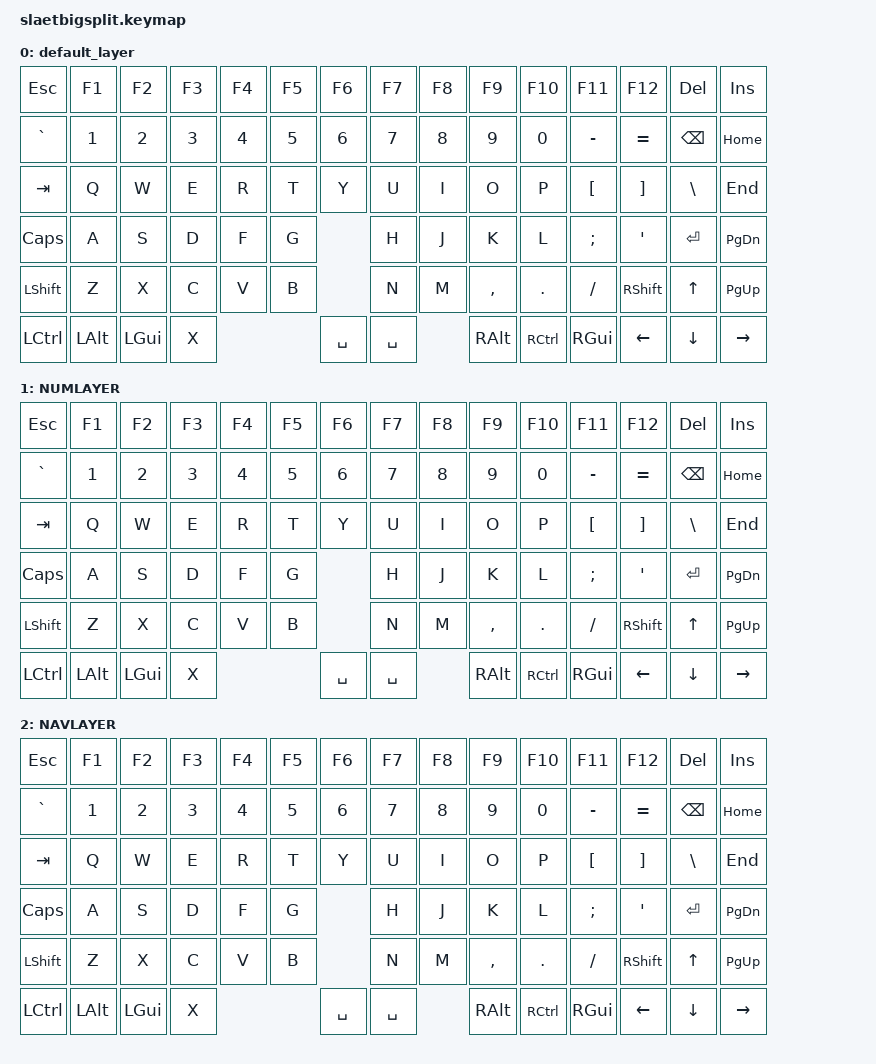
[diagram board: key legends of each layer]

#include <behaviors.dtsi>
#include <dt-bindings/zmk/keys.h>
#include <dt-bindings/zmk/mouse.h>
#include <dt-bindings/zmk/bt.h>
#include <dt-bindings/zmk/outputs.h>

#include <dt-bindings/zmk/pointing.h>

#define DEFAULT     0
#define NUMLAYER    1
#define NAVLAYER    2

/*
  ╭─────────────────────────────┬───────────────────────────────────────╮ 
  │  0   1   2   3   4   5   6  |  7   8   9   10  11  12  13  14       │
  │ 15  16  17  18  19  20  21  |  22  23  24  25  26  27  28  29       |
  │ 30  31  32  33  34  35  __  |  36  37  38  39  40  41  42  43  98   |
  | 44  45  46  47  48  49  __  |  50  51  52  53  54  55  56  57       |
  | 58  59  60  61  62  63  __  |  64  65  66  67  68  69  70  71       |
  | 72  73  74  75  76  77  __  |  78  79  80  81  82  83  84  85       |
  | 86  87  88  89  90  __  __  |  91  92  93  __  94  95  96  97       |
  ╰─────────────────────────────┴───────────────────────────────────────╯
  */

/ {
    
    combos {
        compatible = "zmk,combos";
        combo_bootloader_left {
            timeout-ms = <50>;
            key-positions = <0 1>;
            bindings = <&bootloader>;
        };
        combo_bootloader_right {
            timeout-ms = <50>;
            key-positions = <13 14>;
            bindings = <&bootloader>;
        };
        combo_bluetooth_clear {
            timeout-ms = <50>;
            key-positions = <96 97>;
            bindings = <&bt BT_CLR>;
        };
        
    };
};

/ {
        keymap {
                compatible = "zmk,keymap";
                default_layer {

                        bindings = <

    &kp ESC     &kp F1          &kp F2          &kp F3          &kp F4          &kp F5          &kp F6                  &kp F7          &kp F8          &kp F9          &kp F10         &kp F11     &kp F12     &kp DEL     &kp INS
    &kp GRAVE   &kp NUMBER_1    &kp NUMBER_2    &kp NUMBER_3    &kp NUMBER_4    &kp NUMBER_5    &kp NUMBER_6            &kp NUMBER_7    &kp NUMBER_8    &kp NUMBER_9    &kp NUMBER_0    &kp MINUS   &kp EQUAL   &kp BSPC    &kp HOME
    &kp TAB     &kp Q           &kp W           &kp E           &kp R           &kp T                                   &kp Y           &kp U           &kp I           &kp O           &kp P       &kp LBKT    &kp RBKT    &kp BSLH    &kp END
    &kp CAPS    &kp A           &kp S           &kp D           &kp F           &kp G                                   &kp H           &kp J           &kp K           &kp L           &kp SEMI    &kp SQT     &kp RET     &kp PG_DN
    &kp LSHIFT  &kp Z           &kp X           &kp C           &kp V           &kp B                                   &kp N           &kp M           &kp COMMA       &kp DOT         &kp FSLH    &kp RSHIFT  &kp UP      &kp PG_UP
    &kp LCTRL   &kp LALT        &kp LGUI        &kp X                                           &kp SPACE               &kp SPACE                       &kp RALT        &kp RCTRL       &kp RGUI    &kp LEFT    &kp DOWN    &kp RIGHT  
                  
                        >;
                };
                NUMLAYER {

                        bindings = <
                        
    &kp ESC     &kp F1          &kp F2          &kp F3          &kp F4          &kp F5          &kp F6                  &kp F7          &kp F8          &kp F9          &kp F10         &kp F11     &kp F12     &kp DEL     &kp INS
    &kp GRAVE   &kp NUMBER_1    &kp NUMBER_2    &kp NUMBER_3    &kp NUMBER_4    &kp NUMBER_5    &kp NUMBER_6            &kp NUMBER_7    &kp NUMBER_8    &kp NUMBER_9    &kp NUMBER_0    &kp MINUS   &kp EQUAL   &kp BSPC    &kp HOME
    &kp TAB     &kp Q           &kp W           &kp E           &kp R           &kp T                                   &kp Y           &kp U           &kp I           &kp O           &kp P       &kp LBKT    &kp RBKT    &kp BSLH   &kp END
    &kp CAPS    &kp A           &kp S           &kp D           &kp F           &kp G                                   &kp H           &kp J           &kp K           &kp L           &kp SEMI    &kp SQT     &kp RET     &kp PG_DN
    &kp LSHIFT  &kp Z           &kp X           &kp C           &kp V           &kp B                                   &kp N           &kp M           &kp COMMA       &kp DOT         &kp FSLH    &kp RSHIFT  &kp UP      &kp PG_UP
    &kp LCTRL   &kp LALT        &kp LGUI        &kp X                                           &kp SPACE               &kp SPACE                       &kp RALT        &kp RCTRL       &kp RGUI    &kp LEFT    &kp DOWN    &kp RIGHT
                        >;
                };
                NAVLAYER {

                        bindings = <

    &kp ESC     &kp F1          &kp F2          &kp F3          &kp F4          &kp F5          &kp F6                  &kp F7          &kp F8          &kp F9          &kp F10         &kp F11     &kp F12     &kp DEL     &kp INS
    &kp GRAVE   &kp NUMBER_1    &kp NUMBER_2    &kp NUMBER_3    &kp NUMBER_4    &kp NUMBER_5    &kp NUMBER_6            &kp NUMBER_7    &kp NUMBER_8    &kp NUMBER_9    &kp NUMBER_0    &kp MINUS   &kp EQUAL   &kp BSPC    &kp HOME
    &kp TAB     &kp Q           &kp W           &kp E           &kp R           &kp T                                   &kp Y           &kp U           &kp I           &kp O           &kp P       &kp LBKT    &kp RBKT    &kp BSLH   &kp END
    &kp CAPS    &kp A           &kp S           &kp D           &kp F           &kp G                                   &kp H           &kp J           &kp K           &kp L           &kp SEMI    &kp SQT     &kp RET     &kp PG_DN
    &kp LSHIFT  &kp Z           &kp X           &kp C           &kp V           &kp B                                   &kp N           &kp M           &kp COMMA       &kp DOT         &kp FSLH    &kp RSHIFT  &kp UP      &kp PG_UP
    &kp LCTRL   &kp LALT        &kp LGUI        &kp X                                           &kp SPACE               &kp SPACE                       &kp RALT        &kp RCTRL       &kp RGUI    &kp LEFT    &kp DOWN    &kp RIGHT
                        >;
                };
        };
};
